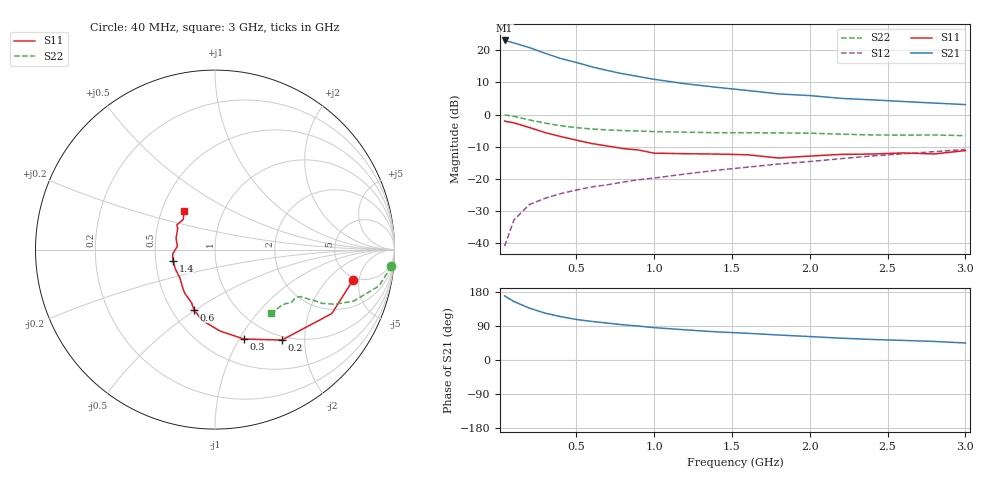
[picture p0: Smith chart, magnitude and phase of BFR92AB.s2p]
! Filename:  BFR92AB.S2P  Version:  2.0
! Philips part #: BFR92A  Date: May 1990
! Bias condition: Vce=5V, Ic=5mA
#  MHz  S  MA  R  50
! Freq  S11  S21  S12  S22  !GUM [dB]
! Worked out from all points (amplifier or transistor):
!   21 points, 40 MHz to 3 GHz, reference 50 ohm
!   highest |S21| = 23.0 dB at 40 MHz (marker M1)
!   |S21| within 3 dB of that: start of sweep to 244 MHz
!   unconditionally stable (mu >= 1): 1.159 GHz to 2.835 GHz
!   at 300 MHz: K = 0.51, MSG = 22.5 dB, |S12| = -26.0 dB
!   at 1 GHz: K = 0.98, MSG = 15.3 dB, |S12| = -19.7 dB
!   at 3 GHz: K = 0.98, MSG = 7.0 dB, |S12| = -10.9 dB
!   S11 on the Smith chart (normalised r, x): 40 MHz: 4.71, -4.16; 200 MHz: 0.94, -1.56; 300 MHz: 0.76, -1.05; 600 MHz: 0.64, -0.49; 1.4 GHz: 0.62, -0.08; 3 GHz: 0.65, +0.30
40  0.789 -12.2  14.15 169.0  0.009 85.7  0.987 -5.4
100  0.742 -28.7  12.94 154.2  0.023 74.9  0.936 -12.5
200  0.627 -53.5  10.95 136.7  0.04 66.9  0.824 -20.4
300  0.524 -72.0  8.943 123.7  0.05 62.6  0.736 -24.4
400  0.455 -86.4  7.427 114.4  0.059 60.9  0.67 -26.6
500  0.4 -100.5  6.449 107.0  0.067 60.8  0.625 -27.1
600  0.354 -109.4  5.509 101.8  0.075 62.4  0.596 -27.8
700  0.324 -113.7  4.835 97.3  0.081 63.9  0.576 -28.1
800  0.296 -124.7  4.293 93.0  0.089 64.8  0.563 -28.3
900  0.281 -129.5  3.89 89.5  0.097 66.0  0.555 -28.6
1000  0.251 -141.5  3.524 85.4  0.103 67.3  0.543 -28.8
1200  0.246 -153.8  3.007 79.6  0.119 68.9  0.532 -29.8
1400  0.243 -165.3  2.651 74.3  0.136 69.1  0.521 -31.5
1600  0.237 -174.0  2.363 70.5  0.152 71.0  0.52 -32.6
1800  0.211 174.9  2.091 65.9  0.17 71.2  0.518 -34.3
2000  0.226 163.6  1.969 61.9  0.186 71.6  0.513 -35.7
2200  0.24 149.9  1.783 57.6  0.206 72.3  0.495 -37.3
2400  0.243 149.5  1.69 54.2  0.227 71.5  0.482 -40.9
2600  0.253 146.9  1.593 51.7  0.245 71.1  0.478 -44.4
2800  0.244 136.4  1.506 49.0  0.265 71.1  0.481 -46.9
3000  0.275 129.0  1.427 44.9  0.286 70.2  0.469 -48.4
